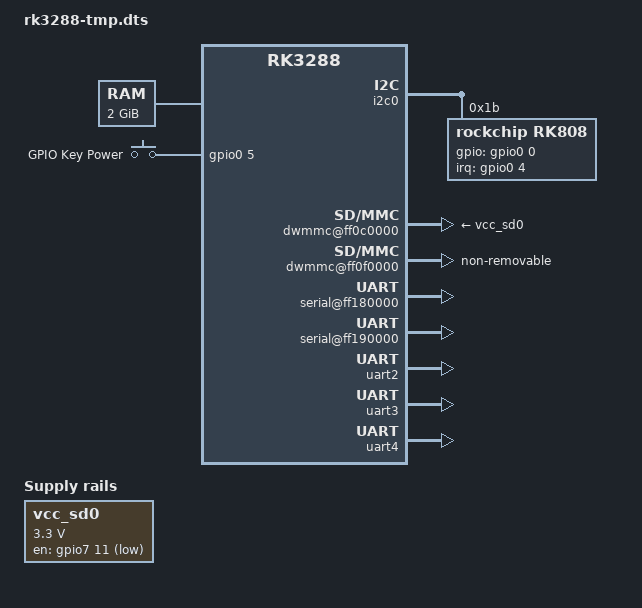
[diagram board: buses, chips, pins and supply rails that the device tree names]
/*
 * This program is free software; you can redistribute it and/or modify
 * it under the terms of the GNU General Public License as published by
 * the Free Software Foundation; either version 2 of the License, or
 * (at your option) any later version.
 *
 * This program is distributed in the hope that it will be useful,
 * but WITHOUT ANY WARRANTY; without even the implied warranty of
 * MERCHANTABILITY or FITNESS FOR A PARTICULAR PURPOSE.  See the
 * GNU General Public License for more details.
 */

/dts-v1/;
#include "rk3288.dtsi"

/ {
	compatible = "rockchip,rk3288-tmp", "rockchip,rk3288";

	aliases {
		serial0 = &uart0;
		serial1 = &uart1;
		serial2 = &uart2;
		serial3 = &uart3;
		serial4 = &uart4;
	};

	memory {
		reg = <0x0 0x80000000>;
	};

	regulators {
		compatible = "simple-bus";
		#address-cells = <1>;
		#size-cells = <0>;

		vcc_sd0: fixed-regulator@0 {
			compatible = "regulator-fixed";
			reg = <0>;

			regulator-name = "sdmmc-supply";
			regulator-min-microvolt = <3300000>;
			regulator-max-microvolt = <3300000>;
			gpio = <&gpio7 11 GPIO_ACTIVE_LOW>;
			startup-delay-us = <100000>;
//			vin-supply = <&vcc_io>;
		};
	};

	soc {
		gpio-keys {
			compatible = "gpio-keys";
			#address-cells = <1>;
			#size-cells = <0>;
			autorepeat;

			button@0 {
				gpios = <&gpio0 5 GPIO_ACTIVE_HIGH>;
				linux,code = <116>;
				label = "GPIO Key Power";
				linux,input-type = <1>;
				gpio-key,wakeup = <1>;
				debounce-interval = <100>;
			};
		};

		i2c0: i2c@ff650000 {
			pinctrl-names = "default";
			pinctrl-0 = <&i2c0_xfer>;
			status = "okay";

			rk808: rk808@1b {
				compatible = "rockchip,rk808";
				reg = <0x1b>;

				interrupt-parent = <&gpio0>;
				interrupts = <4 IRQ_TYPE_EDGE_FALLING>; /* gpio0_a */

				gpios = <&gpio0 0 0>; /* pmic_sleep */
			};
		};

		dwmmc@ff0c0000 {
			num-slots = <1>;
			status = "okay";

			pinctrl-names = "default";
			pinctrl-0 = <&sd0_clk &sd0_cmd &sd0_cd &sd0_bus4>;
			vmmc-supply = <&vcc_sd0>;

			slot@0 {
				reg = <0>;
				bus-width = <4>;
				disable-wp;
			};
		};

		dwmmc@ff0f0000 {
			num-slots = <1>;
			status = "okay";

			broken-cd;
			non-removable;
			supports-highspeed;

			pinctrl-names = "default";
			pinctrl-0 = <&emmc0_clk &emmc0_cmd &emmc0_pwr &emmc0_bus8>;

			slot@0 {
				reg = <0>;
				bus-width = <8>;
				disable-wp;
			};
		};

		watchdog@ff800000 {
			status = "okay";
		};

		/* uart_bt */
		serial@ff180000 {
			status = "okay";
		};

		/* uart_bb */
		serial@ff190000 {
			status = "okay";
		};

		/* uart_dbg */
		uart2: serial@ff690000 {
			status = "okay";
		};

		/* uart_gps */
		uart3: serial@ff1b0000 {
			status = "okay";
		};

		/* uart_exp */
		uart4: serial@ff1c0000 {
			status = "okay";
		};
	};
};
